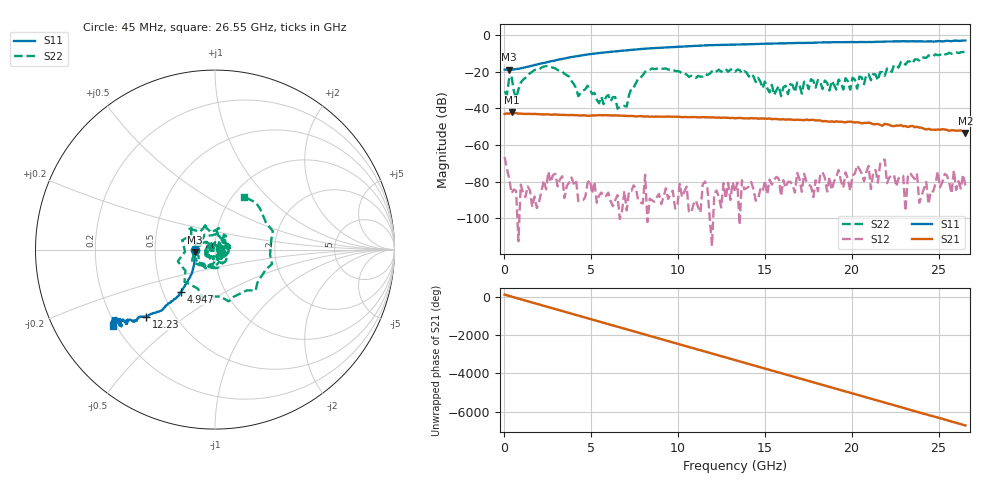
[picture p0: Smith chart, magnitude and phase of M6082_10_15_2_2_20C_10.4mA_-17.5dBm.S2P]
!  2-Port S-parameters saved by WinCal
! VAR MeasName=S-Parameters (CALIBRATED_DATA) read from VNA (C)
! VAR MeasDate=10/16/2015 3:17:06 PM
! VAR NAME=M6082_10_15_2_2_20C_10.4mA_-17.5dBm
! VAR FILENAME=M6082_10_15_2_2_20C_10.4mA_-17.5dBm.S2P
! VAR DATE=10/16/2015 3:17:06 PM
! VAR PHYS_PORTS=2,1
! VAR ObjTypeName=DATASET
! VAR IndexType=Frequency
# Hz S DB R 50
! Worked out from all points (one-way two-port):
!   201 points, 45 MHz to 26.55 GHz, reference 50 ohm
!   highest |S21| = -42.05 dB at 442.5 MHz (marker M1); lowest = -53.4 dB at 26.55 GHz (marker M2)
!   lowest |S11| = -18.9 dB at 310 MHz (marker M3), VSWR 1.25, Z = 39.9 - j1.11 ohm
!   |S11| at or under -10 dB: start of sweep to 5.287 GHz
!   |S22| runs from -40.2 to -9.2 dB; largest |S21 - S12| = 0.0079
!   S11 on the Smith chart (normalised r, x): 45 MHz: 0.80, -0.00; 4.947 GHz: 0.62, -0.32; 12.23 GHz: 0.35, -0.36; 26.55 GHz: 0.19, -0.32
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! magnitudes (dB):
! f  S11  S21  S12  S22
! 45 MHz  -18.9  -43.1  -66.5  -30.7
! 310 MHz  -18.9  -43.0  -78.2  -23.4
! 442.5 MHz  -18.9  -42.0  -86.3  -22.4
! 707.5 MHz  -18.6  -42.6  -85.1  -34.5
! 2.43 GHz  -14.9  -43.3  -84.2  -16.9
! 4.55 GHz  -11.0  -43.8  -90.1  -30.4
! 4.947 GHz  -10.4  -44.0  -78.9  -29.4
! 7.067 GHz  -8.4  -44.1  -95.7  -39.1
! 7.73 GHz  -7.8  -44.3  -90.3  -23.7
! 8.922 GHz  -7.0  -44.5  -86.7  -18.0
! 12.23 GHz  -5.4  -45.1  -84.8  -19.8
! 13.29 GHz  -5.2  -45.4  -85.6  -20.0
! 15.95 GHz  -4.5  -46.0  -87.8  -33.3
! 17.8 GHz  -4.2  -46.2  -88.4  -25.0
! 19.26 GHz  -3.9  -47.4  -73.6  -24.3
! 19.92 GHz  -3.9  -47.3  -85.0  -29.8
! 20.32 GHz  -3.9  -47.6  -71.1  -29.3
! 21.51 GHz  -3.7  -48.5  -80.5  -24.8
! 21.91 GHz  -3.6  -48.4  -68.0  -22.3
! 22.04 GHz  -3.5  -48.7  -80.8  -18.3
! 22.17 GHz  -3.5  -49.0  -77.6  -18.4
! 26.55 GHz  -3.0  -53.4  -82.1  -9.5
